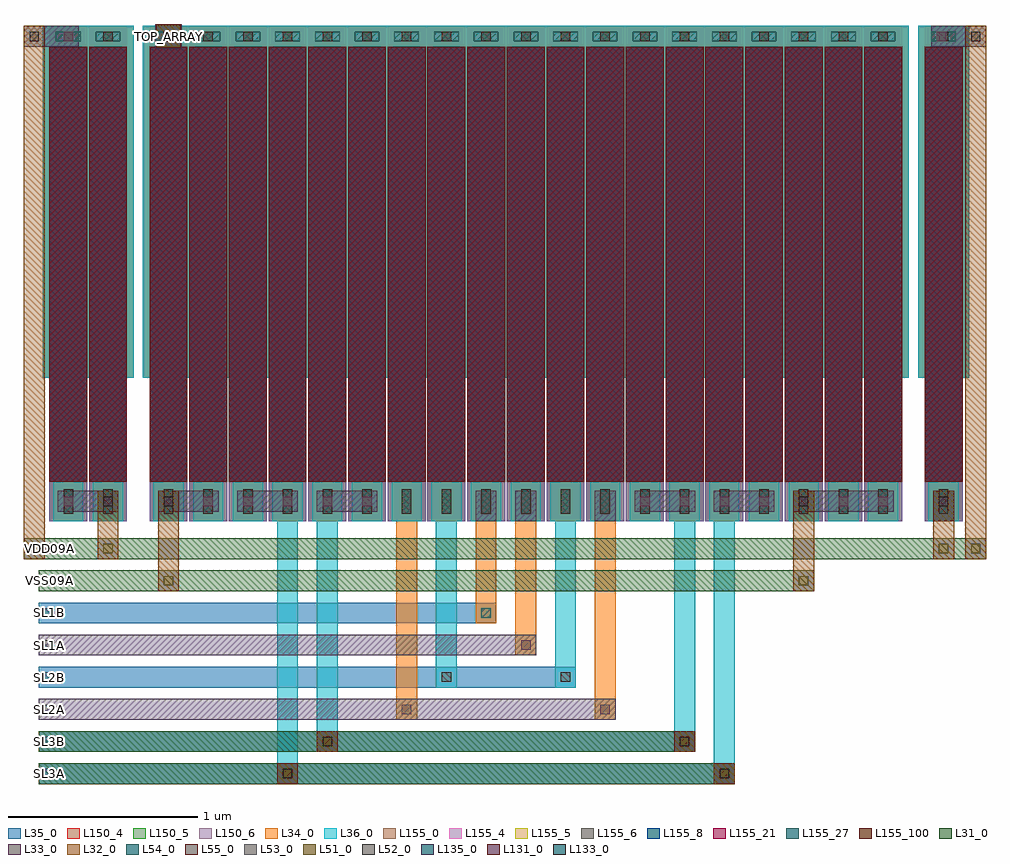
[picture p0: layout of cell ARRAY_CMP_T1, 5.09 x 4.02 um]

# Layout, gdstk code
from math import pi, radians
import gdstk
lib = gdstk.Library(unit=1e-6, precision=1e-09)
def R(c, l, rs):  # rectangles x0, y0, x1, y1
    for r in rs: c.add(gdstk.rectangle(r[:2], r[2:], *l))
def A(c, l, x, y, w, h, nx, ny, dx, dy):  # array of equal rectangles
    R(c, l, [(x+i*dx, y+j*dy, x+i*dx+w, y+j*dy+h) for i in range(nx) for j in range(ny)])
L31_0 = (31, 0)
L32_0 = (32, 0)
L33_0 = (33, 0)
L34_0 = (34, 0)
L35_0 = (35, 0)
L36_0 = (36, 0)
L51_0 = (51, 0)
L52_0 = (52, 0)
L53_0 = (53, 0)
L54_0 = (54, 0)
L55_0 = (55, 0)
L131_0 = (131, 0)
L133_0 = (133, 0)
L135_0 = (135, 0)
L150_4 = (150, 4)
L150_5 = (150, 5)
L150_6 = (150, 6)
L155_0 = (155, 0)
L155_4 = (155, 4)
L155_5 = (155, 5)
L155_6 = (155, 6)
L155_8 = (155, 8)
L155_21 = (155, 21)
L155_27 = (155, 27)
L155_100 = (155, 100)

m5_m4_cdns_621667181328 = lib.new_cell('M5_M4_CDNS_621667181328')
R(m5_m4_cdns_621667181328, L34_0, [(-0.07,-0.105,0.07,0.105)])
R(m5_m4_cdns_621667181328, L35_0, [(-0.07,-0.105,0.07,0.105)])
R(m5_m4_cdns_621667181328, L54_0, [(-0.025,-0.065,0.025,0.065)])

m6_m5_cdns_621667181329 = lib.new_cell('M6_M5_CDNS_621667181329')
R(m6_m5_cdns_621667181329, L35_0, [(-0.07,-0.105,0.07,0.105)])
R(m6_m5_cdns_621667181329, L36_0, [(-0.055,-0.105,0.055,0.105)])
R(m6_m5_cdns_621667181329, L55_0, [(-0.025,-0.065,0.025,0.065)])

m5_m4_cdns_6216671813210 = lib.new_cell('M5_M4_CDNS_6216671813210')
R(m5_m4_cdns_6216671813210, L34_0, [(-0.095,-0.055,0.095,0.055)])
R(m5_m4_cdns_6216671813210, L35_0, [(-0.12,-0.055,0.12,0.055)])
R(m5_m4_cdns_6216671813210, L54_0, [(-0.065,-0.025,0.065,0.025)])

m6_m5_cdns_621667181326 = lib.new_cell('M6_M5_CDNS_621667181326')
R(m6_m5_cdns_621667181326, L35_0, [(-0.055,-0.055,0.055,0.055)])
R(m6_m5_cdns_621667181326, L36_0, [(-0.055,-0.055,0.055,0.055)])
R(m6_m5_cdns_621667181326, L55_0, [(-0.025,-0.025,0.025,0.025)])

cu1f = lib.new_cell('CU1F')
R(cu1f, L34_0, [(0.02,0,0.18,0.21), (-0.035,2.51,0.235,2.62)])
R(cu1f, L35_0, [(0.02,0,0.18,0.21), (-0.035,2.51,0.235,2.62)])
R(cu1f, L36_0, [(0.02,0,0.18,0.21), (-0.035,2.51,0.235,2.62)])
R(cu1f, L150_4, [(0,0,0.2,2.62)])
R(cu1f, L150_5, [(0,0,0.2,2.62)])
R(cu1f, L150_6, [(0,0,0.2,2.62)])
R(cu1f, L155_0, [(0,0.21,0.2,2.51)])
R(cu1f, L155_4, [(0,0.21,0.2,2.51)])
R(cu1f, L155_5, [(0,0.21,0.2,2.51)])
R(cu1f, L155_6, [(0,0.21,0.2,2.51)])
R(cu1f, L155_8, [(0,0.21,0.2,2.51)])
R(cu1f, L155_21, [(0,0.21,0.2,2.51)])
R(cu1f, L155_27, [(0,0.21,0.2,2.51)])
R(cu1f, L155_100, [(0,0.21,0.2,2.51)])
cu1f.add(gdstk.FlexPath([(0.205,2.59),(0.205,0.76)], 0.06, ends=(0.03, 0), simple_path=True, layer=34, datatype=0))  # L34_0
cu1f.add(gdstk.FlexPath([(0.1,2.41),(0.1,0)], 0.05, ends="flush", simple_path=True, layer=34, datatype=0))  # L34_0
cu1f.add(gdstk.FlexPath([(-0.005,2.59),(-0.005,0.76)], 0.06, ends=(0.03, 0), simple_path=True, layer=34, datatype=0))  # L34_0
cu1f.add(gdstk.FlexPath([(0.205,0.76),(0.205,2.59)], 0.06, ends=(0, 0.03), simple_path=True, layer=35, datatype=0))  # L35_0
cu1f.add(gdstk.FlexPath([(0.1,2.41),(0.1,0)], 0.05, ends="flush", simple_path=True, layer=35, datatype=0))  # L35_0
cu1f.add(gdstk.FlexPath([(-0.005,0.76),(-0.005,2.59)], 0.06, ends=(0, 0.03), simple_path=True, layer=35, datatype=0))  # L35_0
cu1f.add(gdstk.FlexPath([(0.205,0.76),(0.205,2.59)], 0.06, ends=(0, 0.03), simple_path=True, layer=36, datatype=0))  # L36_0
cu1f.add(gdstk.FlexPath([(0.1,2.41),(0.1,0)], 0.05, ends="flush", simple_path=True, layer=36, datatype=0))  # L36_0
cu1f.add(gdstk.FlexPath([(-0.005,0.76),(-0.005,2.59)], 0.06, ends=(0, 0.03), simple_path=True, layer=36, datatype=0))  # L36_0
cu1f.add(gdstk.Reference(m5_m4_cdns_621667181328, (0.1,0.105), rotation=pi, x_reflection=True))
cu1f.add(gdstk.Reference(m6_m5_cdns_621667181329, (0.1,0.105), rotation=pi, x_reflection=True))
cu1f.add(gdstk.Reference(m5_m4_cdns_6216671813210, (0.1,2.565)))
cu1f.add(gdstk.Reference(m6_m5_cdns_621667181326, (0.1,2.565)))

m2_m1_cdns_621667181320 = lib.new_cell('M2_M1_CDNS_621667181320')
R(m2_m1_cdns_621667181320, L31_0, [(-0.055,-0.055,0.055,0.055)])
R(m2_m1_cdns_621667181320, L32_0, [(-0.055,-0.055,0.055,0.055)])
R(m2_m1_cdns_621667181320, L51_0, [(-0.025,-0.025,0.025,0.025)])

m3_m2_cdns_621667181321 = lib.new_cell('M3_M2_CDNS_621667181321')
R(m3_m2_cdns_621667181321, L32_0, [(-0.055,-0.055,0.055,0.055)])
R(m3_m2_cdns_621667181321, L33_0, [(-0.055,-0.055,0.055,0.055)])
R(m3_m2_cdns_621667181321, L52_0, [(-0.025,-0.025,0.025,0.025)])

m4_m3_cdns_621667181322 = lib.new_cell('M4_M3_CDNS_621667181322')
R(m4_m3_cdns_621667181322, L33_0, [(-0.055,-0.055,0.055,0.055)])
R(m4_m3_cdns_621667181322, L34_0, [(-0.055,-0.055,0.055,0.055)])
R(m4_m3_cdns_621667181322, L53_0, [(-0.025,-0.025,0.025,0.025)])

m4_m3_cdns_621667181323 = lib.new_cell('M4_M3_CDNS_621667181323')
R(m4_m3_cdns_621667181323, L33_0, [(-0.07,-0.065,0.07,0.065)])
R(m4_m3_cdns_621667181323, L34_0, [(-0.055,-0.055,0.055,0.055)])
R(m4_m3_cdns_621667181323, L53_0, [(-0.025,-0.025,0.025,0.025)])

m3_m2_cdns_621667181324 = lib.new_cell('M3_M2_CDNS_621667181324')
R(m3_m2_cdns_621667181324, L32_0, [(-0.065,-0.06,0.065,0.06)])
R(m3_m2_cdns_621667181324, L33_0, [(-0.07,-0.065,0.07,0.065)])
R(m3_m2_cdns_621667181324, L52_0, [(-0.025,-0.025,0.025,0.025)])

m2_m1_cdns_621667181325 = lib.new_cell('M2_M1_CDNS_621667181325')
R(m2_m1_cdns_621667181325, L31_0, [(-0.055,-0.055,0.055,0.055)])
R(m2_m1_cdns_621667181325, L32_0, [(-0.065,-0.06,0.065,0.06)])
R(m2_m1_cdns_621667181325, L51_0, [(-0.025,-0.025,0.025,0.025)])

m5_m4_cdns_621667181327 = lib.new_cell('M5_M4_CDNS_621667181327')
R(m5_m4_cdns_621667181327, L34_0, [(-0.055,-0.055,0.055,0.055)])
R(m5_m4_cdns_621667181327, L35_0, [(-0.055,-0.055,0.055,0.055)])
R(m5_m4_cdns_621667181327, L54_0, [(-0.025,-0.025,0.025,0.025)])

array_cmp_t1 = lib.new_cell('ARRAY_CMP_T1')
R(array_cmp_t1, L31_0, [(-0.055,-1.39,3.625,-1.28), (-0.055,-1.22,3.415,-1.11), (-0.055,-0.37,4.045,-0.26), (-0.135,-0.2,4.955,-0.09), (0.56,2.5,0.7,2.63)])
R(array_cmp_t1, L32_0, [(0.575,-0.37,0.685,0.16), (3.935,-0.37,4.045,0.16), (-0.135,-0.2,-0.025,2.62), (0.255,-0.2,0.365,0.16), (4.675,-0.2,4.785,0.16), (4.845,-0.2,4.955,2.62)])
A(array_cmp_t1, L33_0, 0.575, 0.05, 0.32, 0.11, 3, 1, 0.42, 0)
R(array_cmp_t1, L33_0, [(-0.055,-1.05,2.995,-0.94), (-0.055,-0.71,2.575,-0.6), (2.255,0,2.365,0.16), (2.465,0,2.575,0.16), (2.885,0,2.995,0.16), (4.675,0,4.785,0.16), (0.045,0.05,0.365,0.16), (3.095,0.05,3.415,0.16), (3.515,0.05,3.835,0.16), (3.935,0.05,4.465,0.16), (-0.135,2.51,0.155,2.62), (4.665,2.51,4.955,2.62)])
R(array_cmp_t1, L34_0, [(1.835,-1.05,1.945,0.16), (2.885,-1.05,2.995,0.16), (2.465,-0.71,2.575,0.16), (2.255,-0.54,2.365,0.16)])
R(array_cmp_t1, L35_0, [(-0.055,-1.39,3.625,-1.28), (-0.055,-1.22,3.415,-1.11), (-0.055,-0.88,2.785,-0.77), (-0.055,-0.54,2.365,-0.43)])
R(array_cmp_t1, L36_0, [(1.205,-1.39,1.315,0.16), (3.515,-1.39,3.625,0.16), (1.415,-1.22,1.525,0.16), (3.305,-1.22,3.415,0.16), (2.045,-0.88,2.155,0.16), (2.675,-0.88,2.785,0.16)])
R(array_cmp_t1, L131_0, [(-0.025,-0.34,0.025,-0.29), (-0.025,-0.17,0.025,-0.12), (0.605,2.54,0.655,2.59)])
R(array_cmp_t1, L133_0, [(-0.025,-1.02,0.025,-0.97), (-0.025,-0.68,0.025,-0.63)])
A(array_cmp_t1, L135_0, -0.025, -1.19, 0.05, 0.05, 1, 3, 0, 0.34)
R(array_cmp_t1, L135_0, [(-0.025,-1.36,0.025,-1.31)])
array_cmp_t1.add(gdstk.Reference(cu1f, (0,0)))
array_cmp_t1.add(gdstk.Reference(cu1f, (0.21,0)))
array_cmp_t1.add(gdstk.Reference(cu1f, (0.53,0)))
array_cmp_t1.add(gdstk.Reference(cu1f, (0.74,0)))
array_cmp_t1.add(gdstk.Reference(cu1f, (4.63,0)))
array_cmp_t1.add(gdstk.Reference(cu1f, (4.31,0)))
array_cmp_t1.add(gdstk.Reference(cu1f, (4.1,0)))
array_cmp_t1.add(gdstk.Reference(cu1f, (3.89,0)))
array_cmp_t1.add(gdstk.Reference(cu1f, (3.68,0)))
array_cmp_t1.add(gdstk.Reference(cu1f, (3.47,0)))
array_cmp_t1.add(gdstk.Reference(cu1f, (3.26,0)))
array_cmp_t1.add(gdstk.Reference(cu1f, (3.05,0)))
array_cmp_t1.add(gdstk.Reference(cu1f, (2.84,0)))
array_cmp_t1.add(gdstk.Reference(cu1f, (2.63,0)))
array_cmp_t1.add(gdstk.Reference(cu1f, (2.42,0)))
array_cmp_t1.add(gdstk.Reference(cu1f, (2.21,0)))
array_cmp_t1.add(gdstk.Reference(cu1f, (2,0)))
array_cmp_t1.add(gdstk.Reference(cu1f, (1.79,0)))
array_cmp_t1.add(gdstk.Reference(cu1f, (1.58,0)))
array_cmp_t1.add(gdstk.Reference(cu1f, (1.37,0)))
array_cmp_t1.add(gdstk.Reference(cu1f, (1.16,0)))
array_cmp_t1.add(gdstk.Reference(cu1f, (0.95,0)))
array_cmp_t1.add(gdstk.Reference(m2_m1_cdns_621667181320, (4.9,-0.145)))
array_cmp_t1.add(gdstk.Reference(m2_m1_cdns_621667181320, (-0.08,-0.145)))
array_cmp_t1.add(gdstk.Reference(m2_m1_cdns_621667181320, (3.36,-1.165)))
array_cmp_t1.add(gdstk.Reference(m2_m1_cdns_621667181320, (3.57,-1.335)))
array_cmp_t1.add(gdstk.Reference(m2_m1_cdns_621667181320, (1.26,-1.335)))
array_cmp_t1.add(gdstk.Reference(m2_m1_cdns_621667181320, (1.47,-1.165)))
array_cmp_t1.add(gdstk.Reference(m2_m1_cdns_621667181320, (4.73,-0.145)))
array_cmp_t1.add(gdstk.Reference(m2_m1_cdns_621667181320, (0.31,-0.145)))
array_cmp_t1.add(gdstk.Reference(m2_m1_cdns_621667181320, (3.99,-0.315)))
array_cmp_t1.add(gdstk.Reference(m2_m1_cdns_621667181320, (0.63,-0.315)))
array_cmp_t1.add(gdstk.Reference(m3_m2_cdns_621667181321, (4.9,2.565)))
array_cmp_t1.add(gdstk.Reference(m3_m2_cdns_621667181321, (-0.08,2.565)))
array_cmp_t1.add(gdstk.Reference(m3_m2_cdns_621667181321, (1.26,-1.335)))
array_cmp_t1.add(gdstk.Reference(m3_m2_cdns_621667181321, (4.73,0.105)))
array_cmp_t1.add(gdstk.Reference(m3_m2_cdns_621667181321, (3.99,0.105)))
array_cmp_t1.add(gdstk.Reference(m3_m2_cdns_621667181321, (0.63,0.105)))
array_cmp_t1.add(gdstk.Reference(m3_m2_cdns_621667181321, (0.31,0.105)))
array_cmp_t1.add(gdstk.Reference(m3_m2_cdns_621667181321, (3.57,-1.335)))
array_cmp_t1.add(gdstk.Reference(m3_m2_cdns_621667181321, (3.36,-1.165)))
array_cmp_t1.add(gdstk.Reference(m3_m2_cdns_621667181321, (1.47,-1.165)))
array_cmp_t1.add(gdstk.Reference(m4_m3_cdns_621667181322, (4.72,2.565), rotation=pi, x_reflection=True))
array_cmp_t1.add(gdstk.Reference(m4_m3_cdns_621667181322, (0.1,2.565)))
array_cmp_t1.add(gdstk.Reference(m4_m3_cdns_621667181322, (2.94,-0.995)))
array_cmp_t1.add(gdstk.Reference(m4_m3_cdns_621667181322, (1.26,-1.335)))
array_cmp_t1.add(gdstk.Reference(m4_m3_cdns_621667181322, (3.57,0.105)))
array_cmp_t1.add(gdstk.Reference(m4_m3_cdns_621667181322, (1.89,-0.995)))
array_cmp_t1.add(gdstk.Reference(m4_m3_cdns_621667181322, (1.68,0.105)))
array_cmp_t1.add(gdstk.Reference(m4_m3_cdns_621667181322, (3.36,-1.165)))
array_cmp_t1.add(gdstk.Reference(m4_m3_cdns_621667181322, (3.78,0.105)))
array_cmp_t1.add(gdstk.Reference(m4_m3_cdns_621667181322, (3.36,0.105)))
array_cmp_t1.add(gdstk.Reference(m4_m3_cdns_621667181322, (3.15,0.105)))
array_cmp_t1.add(gdstk.Reference(m4_m3_cdns_621667181322, (1.47,-1.165)))
array_cmp_t1.add(gdstk.Reference(m4_m3_cdns_621667181322, (4.73,0.105)))
array_cmp_t1.add(gdstk.Reference(m4_m3_cdns_621667181322, (4.2,0.105)))
array_cmp_t1.add(gdstk.Reference(m4_m3_cdns_621667181322, (4.41,0.105)))
array_cmp_t1.add(gdstk.Reference(m4_m3_cdns_621667181322, (3.99,0.105)))
array_cmp_t1.add(gdstk.Reference(m4_m3_cdns_621667181322, (0.84,0.105)))
array_cmp_t1.add(gdstk.Reference(m4_m3_cdns_621667181322, (0.63,0.105)))
array_cmp_t1.add(gdstk.Reference(m4_m3_cdns_621667181322, (0.1,0.105)))
array_cmp_t1.add(gdstk.Reference(m4_m3_cdns_621667181322, (0.31,0.105)))
array_cmp_t1.add(gdstk.Reference(m4_m3_cdns_621667181322, (2.52,-0.655)))
array_cmp_t1.add(gdstk.Reference(m4_m3_cdns_621667181322, (1.47,0.105)))
array_cmp_t1.add(gdstk.Reference(m4_m3_cdns_621667181322, (1.05,0.105)))
array_cmp_t1.add(gdstk.Reference(m4_m3_cdns_621667181322, (1.26,0.105)))
array_cmp_t1.add(gdstk.Reference(m4_m3_cdns_621667181322, (3.57,-1.335)))
array_cmp_t1.add(gdstk.Reference(m4_m3_cdns_621667181323, (0.63,2.565)))
array_cmp_t1.add(gdstk.Reference(m3_m2_cdns_621667181324, (0.63,2.565)))
array_cmp_t1.add(gdstk.Reference(m2_m1_cdns_621667181325, (0.63,2.565)))
array_cmp_t1.add(gdstk.Reference(m6_m5_cdns_621667181326, (3.57,0.105)))
array_cmp_t1.add(gdstk.Reference(m6_m5_cdns_621667181326, (1.26,0.105)))
array_cmp_t1.add(gdstk.Reference(m6_m5_cdns_621667181326, (3.36,0.105)))
array_cmp_t1.add(gdstk.Reference(m6_m5_cdns_621667181326, (3.57,-1.335)))
array_cmp_t1.add(gdstk.Reference(m6_m5_cdns_621667181326, (1.47,0.105)))
array_cmp_t1.add(gdstk.Reference(m6_m5_cdns_621667181326, (3.36,-1.165)))
array_cmp_t1.add(gdstk.Reference(m6_m5_cdns_621667181326, (1.26,-1.335)))
array_cmp_t1.add(gdstk.Reference(m6_m5_cdns_621667181326, (1.47,-1.165)))
array_cmp_t1.add(gdstk.Reference(m6_m5_cdns_621667181326, (2.1,-0.825)))
array_cmp_t1.add(gdstk.Reference(m6_m5_cdns_621667181326, (2.73,-0.825)))
array_cmp_t1.add(gdstk.Reference(m5_m4_cdns_621667181327, (1.26,-1.335)))
array_cmp_t1.add(gdstk.Reference(m5_m4_cdns_621667181327, (3.57,-1.335)))
array_cmp_t1.add(gdstk.Reference(m5_m4_cdns_621667181327, (1.26,0.105)))
array_cmp_t1.add(gdstk.Reference(m5_m4_cdns_621667181327, (2.31,-0.485)))
array_cmp_t1.add(gdstk.Reference(m5_m4_cdns_621667181327, (1.47,0.105)))
array_cmp_t1.add(gdstk.Reference(m5_m4_cdns_621667181327, (3.57,0.105)))
array_cmp_t1.add(gdstk.Reference(m5_m4_cdns_621667181327, (3.36,0.105)))
array_cmp_t1.add(gdstk.Reference(m5_m4_cdns_621667181327, (3.36,-1.165)))
array_cmp_t1.add(gdstk.Reference(m5_m4_cdns_621667181327, (1.47,-1.165)))
array_cmp_t1.add(gdstk.Label('SL3B', (0,-1.165), layer=135, texttype=0))
array_cmp_t1.add(gdstk.Label('SL1B', (0,-0.485), layer=135, texttype=0))
array_cmp_t1.add(gdstk.Label('SL3A', (0,-1.335), layer=135, texttype=0))
array_cmp_t1.add(gdstk.Label('SL2B', (0,-0.825), layer=135, texttype=0))
array_cmp_t1.add(gdstk.Label('SL1A', (0,-0.655), layer=133, texttype=0))
array_cmp_t1.add(gdstk.Label('SL2A', (0,-0.995), layer=133, texttype=0))
array_cmp_t1.add(gdstk.Label('VDD09A', (0,-0.145), layer=131, texttype=0))
array_cmp_t1.add(gdstk.Label('VSS09A', (0,-0.315), layer=131, texttype=0))
array_cmp_t1.add(gdstk.Label('TOP_ARRAY', (0.628,2.565), layer=131, texttype=0))

lib.write_gds('ARRAY_CMP_T1.gds')
